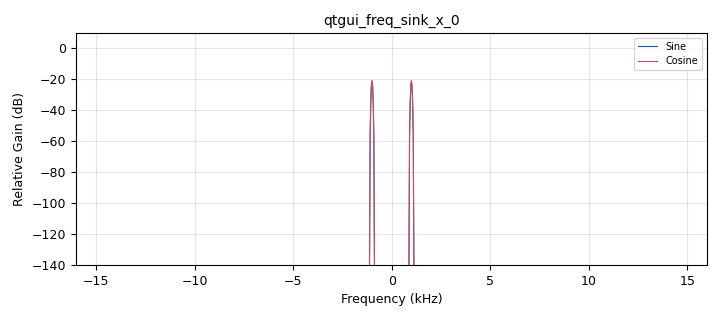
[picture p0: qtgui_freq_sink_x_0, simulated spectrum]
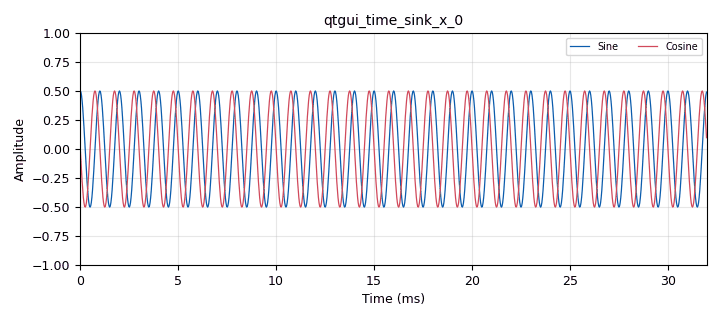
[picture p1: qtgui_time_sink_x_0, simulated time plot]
options:
  parameters:
    author: Workshop
    comment: Basic signal generator example
    description: Generates sine and cosine waves
    generate_options: qt_gui
    id: signal_source_demo
    output_language: python
    title: Signal Source Demo
  states: {}

blocks:
- name: amplitude
  id: variable_qtgui_range
  parameters:
    gui_hint: 1,0,1,2
    label: Amplitude
    start: '0'
    step: '0.1'
    stop: '1'
    value: '0.5'
  states: {}
- name: frequency
  id: variable_qtgui_range
  parameters:
    gui_hint: 0,0,1,2
    label: Frequency (Hz)
    start: '-samp_rate'
    step: '100'
    stop: samp_rate
    value: '1000'
  states: {}
- name: phase
  id: variable_qtgui_range
  parameters:
    label: Phase
    start: '0'
    step: 3.14159/10
    stop: 3.14159*2
    value: 3.14159/2
  states: {}
- name: samp_rate
  id: variable
  parameters:
    value: '32000'
  states: {}
- name: analog_sig_source_x_0
  id: analog_sig_source_x
  parameters:
    amp: amplitude
    comment: Sine wave generator
    freq: frequency
    offset: '0'
    phase: '0'
    samp_rate: samp_rate
    type: float
    waveform: analog.GR_COS_WAVE
  states: {}
- name: analog_sig_source_x_1
  id: analog_sig_source_x
  parameters:
    amp: amplitude
    comment: Cosine wave generator
    freq: frequency
    offset: '0'
    phase: phase
    samp_rate: samp_rate
    type: float
    waveform: analog.GR_COS_WAVE
  states: {}
- name: blocks_throttle2_0
  id: blocks_throttle2
  parameters:
    samples_per_second: samp_rate
    type: float
  states: {}
- name: blocks_throttle2_0_0
  id: blocks_throttle2
  parameters:
    samples_per_second: samp_rate
    type: float
  states: {}
- name: qtgui_freq_sink_x_0
  id: qtgui_freq_sink_x
  parameters:
    bw: samp_rate
    ctrlpanel: 'True'
    fc: '0'
    fftsize: '1024'
    grid: 'True'
    gui_hint: 4,0,2,2
    label1: Sine
    label2: Cosine
    nconnections: '2'
    type: float
  states: {}
- name: qtgui_time_sink_x_0
  id: qtgui_time_sink_x
  parameters:
    ctrlpanel: 'True'
    grid: 'True'
    gui_hint: 2,0,2,2
    label1: Sine
    label2: Cosine
    nconnections: '2'
    size: '1024'
    srate: samp_rate
    type: float
  states: {}

connections:
- [analog_sig_source_x_0, '0', blocks_throttle2_0, '0']
- [analog_sig_source_x_1, '0', blocks_throttle2_0_0, '0']
- [blocks_throttle2_0, '0', qtgui_freq_sink_x_0, '0']
- [blocks_throttle2_0, '0', qtgui_time_sink_x_0, '0']
- [blocks_throttle2_0_0, '0', qtgui_freq_sink_x_0, '1']
- [blocks_throttle2_0_0, '0', qtgui_time_sink_x_0, '1']

metadata:
  file_format: 1
  grc_version: 3.10.7.0
